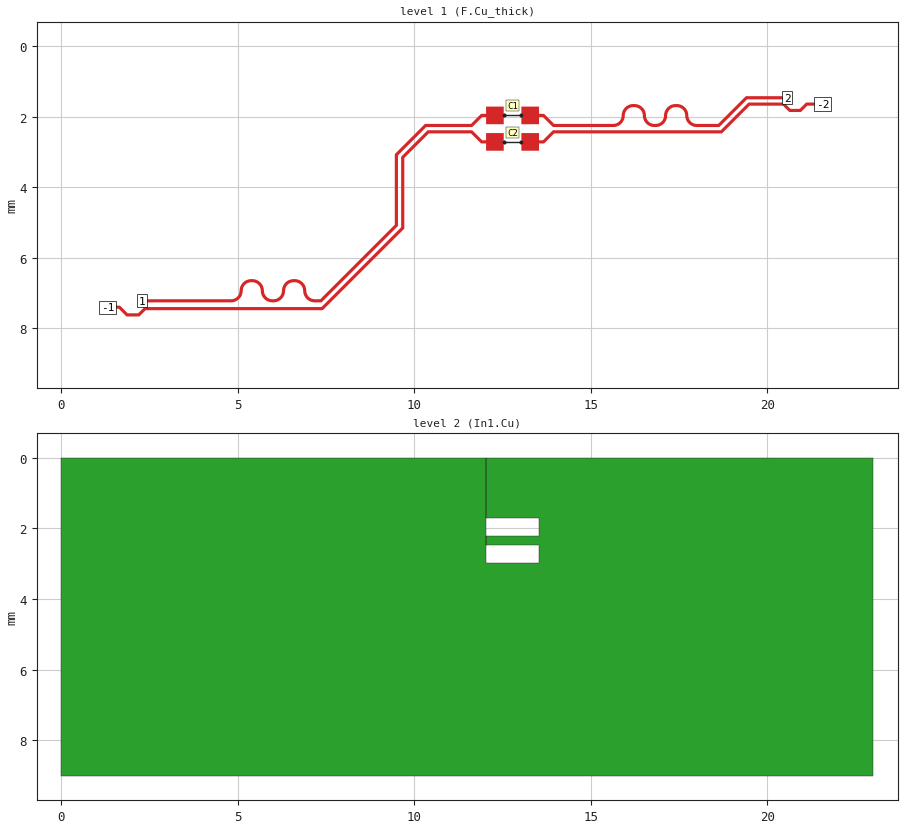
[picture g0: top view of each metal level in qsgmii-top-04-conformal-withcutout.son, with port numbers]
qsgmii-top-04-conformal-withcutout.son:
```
FTYP SONPROJ 19 ! Sonnet Project File
VER 18.56
HEADER
LIC antikernel2.1.52448
DAT 06/09/2023 12:15:08
BUILT_BY_CREATED dxf 18.56 06/07/2023 00:06:12
BUILT_BY_SAVED sonnet 18.56
MDATE 06/09/2023 12:15:08
HDATE 06/09/2023 12:15:08
ANN Created by dxfgeo, Sonnet Software Inc.
END HEADER
DIM
ANG DEG
CAP PF
CON /OH
FREQ GHZ
IND NH
LNG MM
RES OH
END DIM
CONTROL
VARSWP
OPTIONS  -dj
SPEED 1
CACHE_ABS 2
Q_ACC N
END CONTROL
GEO
TMET "Free Space" 0 FREESPACE 376.7303136 0 0 0
BMET "Free Space" 0 FREESPACE 376.7303136 0 0 0
MET "Copper_1oz_thin" 1 NOR 58000000 0.5 0.035 
MET "Copper_1oz_thick" 2 TMM 58000000 0.5 0.035 2
MET "Copper_0.5oz_thin" 4 NOR 58000000 0.5 0.017 
MET "Copper_0.5oz_thick" 12 TMM 58000000 0.5 0.017 2
MET "Copper_0.5oz_thick_down" 5 TMM 58000000 0.5 0.017 2 CDVY TDWN
MET "Copper_1oz_thick_down" 3 TMM 58000000 0.5 0.035 2 CDVY TDWN
BOX 10 23 9 3680 1440 20 0
      5 1 1 0 0 0 0 "Air"
      0.04 3.5 1 0.025 0 0 0 "Soldermask"
      0.075 3.9 1 0.008 0 0 0 "TU-872_SLK"
      0.1 3.9 1 0.008 0 0 0 "TU-872_SLK"
      0.143 3.9 1 0.008 0 0 0 "TU-872_SLK"
      0.7 4.49 1 0.016 0 0 0 "Shengyi_S1000-2M"
      0.143 3.9 1 0.008 0 0 0 "TU-872_SLK"
      0.1 3.9 1 0.008 0 0 0 "TU-872_SLK"
      0.075 3.9 1 0.008 0 0 0 "TU-872_SLK"
      0.04 3.5 1 0.025 0 0 0 "Soldermask"
      5 1 1 0 0 0 0 "Air"
TECHLAY VIA Via1 L9D0 -13 -65534 CAD Via1 drawing 
VIA POLYGON
1 0 -1 N 2978 1 1 100 100 0 0 0 Y
TOLEVEL 8 RING NOCOVERS
END
END
TECHLAY METAL F.Cu_thick L1D0 -2 -65534 CAD F.Cu_thick drawing 
1 0 1 V 2910 1 1 100 100 0 0 0 Y
END
END
TECHLAY METAL F.Cu_thin <UNSPECIFIED> -1 -65534 CAD F.Cu_thin drawing 
1 0 0 N 2920 1 1 100 100 0 0 0 Y
END
END
TECHLAY METAL In1.Cu L2D0 -3 -65534 CAD In1.Cu drawing 
2 0 0 N 2927 1 1 100 100 0 0 0 Y
END
END
TECHLAY METAL In2.Cu_thick L3D0 -5 -65534 CAD In2.Cu_thick drawing 
3 0 3 N 2930 1 1 100 100 0 0 0 Y
END
END
TECHLAY METAL In2.Cu_thin <UNSPECIFIED> -4 -65534 CAD In2.Cu drawing 
3 0 2 N 2932 1 1 100 100 0 0 0 Y
END
END
TECHLAY METAL In3.Cu L4D0 -6 -65534 CAD In3.Cu drawing 
4 0 0 N 2935 1 1 100 100 0 0 0 Y
END
END
TECHLAY METAL In4.Cu L5D0 -7 -65534 CAD In4.Cu drawing 
5 0 0 N 2938 1 1 100 100 0 0 0 Y
END
END
TECHLAY METAL In5.Cu_thick L6D0 -9 -65534 CAD In5.Cu_thick drawing 
6 0 4 N 2941 1 1 100 100 0 0 0 Y
END
END
TECHLAY METAL In5.Cu_thin <UNSPECIFIED> -8 -65534 CAD In5.Cu drawing 
6 0 2 N 2943 1 1 100 100 0 0 0 Y
END
END
TECHLAY METAL In6.Cu L7D0 -10 -65534 CAD In6.Cu drawing 
7 0 0 N 2946 1 1 100 100 0 0 0 Y
END
END
TECHLAY METAL B.Cu_thick L8D0 -12 -65534 CAD B.Cu_thick drawing 
8 0 5 N 2949 1 1 100 100 0 0 0 Y
END
END
TECHLAY METAL B.Cu_thin <UNSPECIFIED> -11 -65534 CAD B.Cu_thin drawing 
8 0 0 N 2951 1 1 100 100 0 0 0 Y
END
END
VALVAR CORE_ER NONE "table1(\"../../../sata-sniffer/sims/core_er.csv\",FREQ)" "Variable set in material file"
VALVAR CORE_DF NONE "table1(\"../../../sata-sniffer/sims/core_df.csv\",FREQ)" "Variable set in material file"
VALVAR PREPREG_DF NONE "table1(\"../../../sata-sniffer/sims/prepreg_df.csv\",FREQ)" "Variable set in material file"
VALVAR PREPREG_ER NONE "table1(\"../../../sata-sniffer/sims/prepreg_er.csv\",FREQ)" "Variable set in material file"
LORGN 0 9 U 
POR1 CUP Auto
GNDREF AUTO
TERMW FEED
POLY 2863 1
72
-1 100 0 0 0 1.31 7.39691406 
CUPGRP "Auto" LOCAL
ID 2979
END
POR1 CUP Auto
GNDREF AUTO
TERMW FEED
POLY 2865 1
248
1 100 0 0 0 2.3 7.21691406 
CUPGRP "Auto" LOCAL
ID 2980
END
POR1 CUP Auto
GNDREF AUTO
TERMW FEED
POLY 2867 1
29
-2 100 0 0 0 21.56 1.646914063 
CUPGRP "Auto" LOCAL
ID 2981
END
POR1 CUP Auto
GNDREF AUTO
TERMW FEED
POLY 2870 1
6
2 100 0 0 0 20.56 1.466914062 
CUPGRP "Auto" LOCAL
ID 2982
END
SMD 1 "C1"
ID 2871
GNDREF AUTO
SBOX 12.6585625 12.9085625 1.929414063 2.004414063
PBSHW N
LPOS 12.7835625 1.929414063
TYPE IDEAL CAP 100000
SMDP 1 12.5335625 1.966914063 L 3 1 
EXSMDP
GNDREF AUTO
TERMW FEED
END EXSMDP
SMDP 1 13.0335625 1.966914063 R 4 2 
EXSMDP
GNDREF AUTO
TERMW FEED
END EXSMDP
END
SMD 1 "C2"
ID 2876
GNDREF AUTO
SBOX 12.6585625 12.9085625 2.679414063 2.754414063
PBSHW N
LPOS 12.7835625 2.679414063
TYPE IDEAL CAP 100000
SMDP 1 12.5335625 2.716914063 L 5 1 
EXSMDP
GNDREF AUTO
TERMW FEED
END EXSMDP
SMDP 1 13.0335625 2.716914063 R 6 2 
EXSMDP
GNDREF AUTO
TERMW FEED
END EXSMDP
END
NUM 5
1 83 1 V 2863 1 1 100 100 0 0 0 Y
TLAYNAM F.Cu_thick INH
2.2095625 7.65991406
2.2145625 7.65791406
2.2185625 7.65691406
2.2225625 7.65491406
2.2255625 7.65191406
2.2295625 7.64891406
2.2355625 7.64291406
2.2365625 7.64091406
2.3955625 7.48291406
7.3975625 7.48291406
7.4015625 7.48191406
7.4055625 7.47991406
7.4095625 7.47891406
7.4135625 7.47691406
7.4175625 7.47391406
7.4205625 7.47091406
9.7075625 5.184914063
9.7105625 5.180914062
9.7125625 5.177914062
9.7165625 5.169914063
9.7175625 5.164914063
9.7185625 5.160914063
9.7185625 3.171914062
10.4145625 2.476914063
11.6055625 2.476914063
11.8815625 2.752914063
11.8855625 2.755914063
11.8895625 2.757914062
11.8935625 2.758914063
11.8975625 2.760914062
11.9015625 2.761914063
12.0335625 2.761914063
12.0335625 2.966914063
12.5335625 2.966914063
12.5335625 2.466914063
12.0335625 2.466914063
12.0335625 2.671914062
11.9265625 2.671914062
11.6505625 2.395914063
11.6465625 2.392914063
11.6425625 2.390914063
11.6385625 2.389914063
11.6345625 2.387914063
11.6305625 2.386914063
10.3885625 2.386914063
10.3805625 2.388914062
10.3725625 2.392914063
10.3685625 2.395914063
10.3655625 2.397914062
9.6405625 3.123914062
9.6375625 3.126914062
9.6345625 3.130914063
9.6325625 3.134914063
9.6315625 3.138914062
9.6295625 3.142914063
9.6285625 3.146914063
9.6285625 5.135914062
7.3725625 7.39291406
2.3695625 7.39291406
2.3615625 7.39491406
2.3535625 7.39891406
2.3495625 7.40191406
2.3465625 7.40391406
2.3405625 7.41091406
2.1805625 7.57091406
1.8865625 7.57091406
1.6765625 7.36091406
1.6725625 7.35791406
1.6685625 7.35591406
1.6645625 7.35491406
1.6605625 7.35291406
1.6565625 7.35191406
1.31 7.35191406
1.31 7.44191406
1.6315625 7.44191406
1.8415625 7.65191406
1.8455625 7.65491406
1.8495625 7.65691406
1.8535625 7.65791406
1.8575625 7.65991406
1.8615625 7.66091406
2.2055625 7.66091406
2.2095625 7.65991406
END
1 451 1 V 2865 1 1 100 100 0 0 0 Y
TLAYNAM F.Cu_thick INH
7.3715625 7.25991406
7.3795625 7.25591406
7.3835625 7.25291406
7.3865625 7.25091406
7.3925625 7.24391406
9.5295625 5.106914063
9.5325625 5.102914062
9.5345625 5.098914063
9.5355625 5.094914063
9.5375625 5.090914062
9.5385625 5.086914063
9.5385625 3.098914063
10.3395625 2.296914062
11.6305625 2.296914062
11.6345625 2.295914063
11.6385625 2.293914062
11.6425625 2.292914063
11.6465625 2.290914062
11.6505625 2.287914062
11.9265625 2.011914063
12.0335625 2.011914063
12.0335625 2.216914063
12.5335625 2.216914063
12.5335625 1.716914063
12.0335625 1.716914063
12.0335625 1.921914062
11.9015625 1.921914062
11.8975625 1.922914063
11.8935625 1.924914062
11.8895625 1.925914063
11.8855625 1.927914062
11.8815625 1.930914062
11.6055625 2.206914062
10.3145625 2.206914062
10.3105625 2.207914063
10.3065625 2.209914062
10.3015625 2.210914063
10.2985625 2.212914062
10.2905625 2.218914062
10.2875625 2.221914062
10.2855625 2.224914062
9.4665625 3.043914062
9.4605625 3.048914063
9.4545625 3.056914063
9.4525625 3.060914063
9.4515625 3.064914062
9.4495625 3.068914063
9.4485625 3.072914063
9.4485625 5.061914062
7.3375625 7.17191406
7.1775625 7.17191406
7.1425625 7.16891406
7.1015625 7.15791406
7.0645625 7.13991406
7.0275625 7.11391406
7.0245625 7.11191406
7.0035625 7.09091406
7.0035625 7.08991406
6.9755625 7.04991406
6.9575625 7.01191406
6.9465625 6.97191406
6.9435625 6.92591406
6.9425625 6.92191406
6.9415625 6.91691406
6.9375625 6.86891406
6.9365625 6.86491406
6.9335625 6.85691406
6.9215625 6.81691406
6.9215625 6.81591406
6.9205625 6.81091406
6.9195625 6.80691406
6.9155625 6.79891406
6.9155625 6.79791406
6.8895625 6.74991406
6.8865625 6.74591406
6.8545625 6.70891406
6.8535625 6.70591406
6.8505625 6.70291406
6.8485625 6.69891406
6.8445625 6.69591406
6.8415625 6.69391406
6.8375625 6.69091406
6.8055625 6.66391406
6.8025625 6.66091406
6.7945625 6.65491406
6.7905625 6.65291406
6.7875625 6.65191406
6.7865625 6.65191406
6.7825625 6.64991406
6.7415625 6.62691406
6.7375625 6.62591406
6.7335625 6.62391406
6.7295625 6.62291406
6.7275625 6.62291406
6.6845625 6.60991406
6.6835625 6.60891406
6.6755625 6.60691406
6.6745625 6.60691406
6.6235625 6.60191406
6.6225625 6.60191406
6.6195625 6.60091406
6.5765625 6.60091406
6.5725625 6.60191406
6.5705625 6.60291406
6.5215625 6.60691406
6.5205625 6.60691406
6.5165625 6.60791406
6.5125625 6.60991406
6.5085625 6.61091406
6.4695625 6.62291406
6.4675625 6.62291406
6.4625625 6.62391406
6.4585625 6.62491406
6.4545625 6.62691406
6.4015625 6.65491406
6.3975625 6.65791406
6.3585625 6.69091406
6.3545625 6.69491406
6.3515625 6.69591406
6.3485625 6.69991406
6.3455625 6.70291406
6.3425625 6.70691406
6.3425625 6.70791406
6.3195625 6.73591406
6.3175625 6.73691406
6.3125625 6.74191406
6.3095625 6.74591406
6.3075625 6.74991406
6.2785625 6.80291406
6.2775625 6.80691406
6.2755625 6.81091406
6.2745625 6.81491406
6.2745625 6.81691406
6.2595625 6.86491406
6.2585625 6.86891406
6.2585625 6.88291406
6.2545625 6.91991406
6.2535625 6.92491406
6.2535625 6.92991406
6.2475625 6.97991406
6.2335625 7.02791406
6.2325625 7.02991406
6.2135625 7.06391406
6.1825625 7.10091406
6.1485625 7.12991406
6.1005625 7.15491406
6.0995625 7.15591406
6.0625625 7.16691406
6.0055625 7.17191406
5.9765625 7.17191406
5.9425625 7.16891406
5.9015625 7.15791406
5.8645625 7.13991406
5.8275625 7.11391406
5.8245625 7.11191406
5.8035625 7.09091406
5.8035625 7.08991406
5.7755625 7.04991406
5.7575625 7.01191406
5.7465625 6.97191406
5.7435625 6.92591406
5.7425625 6.92191406
5.7415625 6.91691406
5.7375625 6.86891406
5.7365625 6.86491406
5.7335625 6.85691406
5.7215625 6.81691406
5.7215625 6.81591406
5.7205625 6.81091406
5.7195625 6.80691406
5.7155625 6.79891406
5.7155625 6.79791406
5.6895625 6.74991406
5.6865625 6.74591406
5.6545625 6.70891406
5.6535625 6.70591406
5.6505625 6.70291406
5.6485625 6.69891406
5.6445625 6.69591406
5.6415625 6.69391406
5.6375625 6.69091406
5.6055625 6.66391406
5.6025625 6.66091406
5.5945625 6.65491406
5.5905625 6.65291406
5.5875625 6.65191406
5.5865625 6.65191406
5.5825625 6.64991406
5.5415625 6.62691406
5.5375625 6.62591406
5.5335625 6.62391406
5.5295625 6.62291406
5.5275625 6.62291406
5.4845625 6.60991406
5.4835625 6.60891406
5.4755625 6.60691406
5.4745625 6.60691406
5.4235625 6.60191406
5.4225625 6.60191406
5.4195625 6.60091406
5.3765625 6.60091406
5.3725625 6.60191406
5.3705625 6.60291406
5.3215625 6.60691406
5.3205625 6.60691406
5.3165625 6.60791406
5.3125625 6.60991406
5.3085625 6.61091406
5.2695625 6.62291406
5.2675625 6.62291406
5.2625625 6.62391406
5.2585625 6.62491406
5.2545625 6.62691406
5.2015625 6.65491406
5.1975625 6.65791406
5.1585625 6.69091406
5.1545625 6.69491406
5.1515625 6.69591406
5.1485625 6.69991406
5.1455625 6.70291406
5.1425625 6.70691406
5.1425625 6.70791406
5.1195625 6.73591406
5.1175625 6.73691406
5.1125625 6.74191406
5.1095625 6.74591406
5.1075625 6.74991406
5.0785625 6.80291406
5.0775625 6.80691406
5.0755625 6.81091406
5.0745625 6.81491406
5.0745625 6.81691406
5.0595625 6.86491406
5.0585625 6.86891406
5.0585625 6.88291406
5.0545625 6.91991406
5.0535625 6.92491406
5.0535625 6.92991406
5.0475625 6.97991406
5.0335625 7.02791406
5.0325625 7.02991406
5.0135625 7.06391406
4.9825625 7.10091406
4.9485625 7.12991406
4.9005625 7.15491406
4.8995625 7.15591406
4.8625625 7.16691406
4.8055625 7.17191406
2.3 7.17191406
2.3 7.26191406
4.8195625 7.26191406
4.8225625 7.26091406
4.8235625 7.26091406
4.8615625 7.25691406
4.8755625 7.25691406
4.8795625 7.25591406
4.9375625 7.23791406
4.9475625 7.23291406
4.9485625 7.23191406
4.9825625 7.21291406
4.9865625 7.21091406
4.9875625 7.21091406
4.9905625 7.20991406
4.9945625 7.20791406
5.0025625 7.20191406
5.0055625 7.19891406
5.0375625 7.17191406
5.0415625 7.16891406
5.0445625 7.16691406
5.0485625 7.16391406
5.0505625 7.15991406
5.0535625 7.15691406
5.0545625 7.15391406
5.0865625 7.11691406
5.0895625 7.11291406
5.1155625 7.06491406
5.1155625 7.06391406
5.1195625 7.05591406
5.1205625 7.05191406
5.1215625 7.04691406
5.1215625 7.04591406
5.1335625 7.00591406
5.1365625 6.99791406
5.1375625 6.99391406
5.1415625 6.94491406
5.1425625 6.94291406
5.1435625 6.93891406
5.1485625 6.88191406
5.1615625 6.83891406
5.1825625 6.79891406
5.2165625 6.75891406
5.2185625 6.75691406
5.2505625 6.73091406
5.2855625 6.71191406
5.3355625 6.69591406
5.3895625 6.69091406
5.4055625 6.69091406
5.4575625 6.69491406
5.5055625 6.70991406
5.5485625 6.73291406
5.5825625 6.76191406
5.6135625 6.79891406
5.6325625 6.83291406
5.6335625 6.83491406
5.6475625 6.88291406
5.6535625 6.93391406
5.6535625 6.93791406
5.6545625 6.94091406
5.6545625 6.94291406
5.6575625 6.97691406
5.6575625 6.98591406
5.6585625 6.99091406
5.6725625 7.04291406
5.6725625 7.04391406
5.6735625 7.04591406
5.6745625 7.04691406
5.6755625 7.04891406
5.6755625 7.05091406
5.6765625 7.05191406
5.6945625 7.08991406
5.6965625 7.09491406
5.6985625 7.09891406
5.7015625 7.10191406
5.7045625 7.10591406
5.7235625 7.13291406
5.7235625 7.13391406
5.7255625 7.13791406
5.7285625 7.14191406
5.7315625 7.14491406
5.7695625 7.18391406
5.7725625 7.18591406
5.7765625 7.18891406
5.7775625 7.18991406
5.8055625 7.20791406
5.8085625 7.21091406
5.8125625 7.21391406
5.8155625 7.21691406
5.8195625 7.21891406
5.8685625 7.24191406
5.8705625 7.24291406
5.8725625 7.24291406
5.8775625 7.24391406
5.9165625 7.25491406
5.9185625 7.25591406
5.9235625 7.25691406
5.9275625 7.25791406
5.9285625 7.25791406
5.9725625 7.26091406
5.9745625 7.26091406
5.9765625 7.26191406
6.0195625 7.26191406
6.0225625 7.26091406
6.0235625 7.26091406
6.0615625 7.25691406
6.0755625 7.25691406
6.0795625 7.25591406
6.1375625 7.23791406
6.1475625 7.23291406
6.1485625 7.23191406
6.1825625 7.21291406
6.1865625 7.21091406
6.1875625 7.21091406
6.1905625 7.20991406
6.1945625 7.20791406
6.2025625 7.20191406
6.2055625 7.19891406
6.2375625 7.17191406
6.2415625 7.16891406
6.2445625 7.16691406
6.2485625 7.16391406
6.2505625 7.15991406
6.2535625 7.15691406
6.2545625 7.15391406
6.2865625 7.11691406
6.2895625 7.11291406
6.3155625 7.06491406
6.3155625 7.06391406
6.3195625 7.05591406
6.3205625 7.05191406
6.3215625 7.04691406
6.3215625 7.04591406
6.3335625 7.00591406
6.3365625 6.99791406
6.3375625 6.99391406
6.3415625 6.94491406
6.3425625 6.94291406
6.3435625 6.93891406
6.3485625 6.88191406
6.3615625 6.83891406
6.3825625 6.79891406
6.4165625 6.75891406
6.4185625 6.75691406
6.4505625 6.73091406
6.4855625 6.71191406
6.5355625 6.69591406
6.5895625 6.69091406
6.6055625 6.69091406
6.6575625 6.69491406
6.7055625 6.70991406
6.7485625 6.73291406
6.7825625 6.76191406
6.8135625 6.79891406
6.8325625 6.83291406
6.8335625 6.83491406
6.8475625 6.88291406
6.8535625 6.93391406
6.8535625 6.93791406
6.8545625 6.94091406
6.8545625 6.94291406
6.8575625 6.97691406
6.8575625 6.98591406
6.8585625 6.99091406
6.8725625 7.04291406
6.8725625 7.04391406
6.8735625 7.04591406
6.8745625 7.04691406
6.8755625 7.04891406
6.8755625 7.05091406
6.8765625 7.05191406
6.8945625 7.08991406
6.8965625 7.09491406
6.8985625 7.09891406
6.9015625 7.10191406
6.9045625 7.10591406
6.9235625 7.13291406
6.9235625 7.13391406
6.9255625 7.13791406
6.9285625 7.14191406
6.9315625 7.14491406
6.9695625 7.18391406
6.9725625 7.18591406
6.9765625 7.18891406
6.9775625 7.18991406
7.0055625 7.20791406
7.0085625 7.21091406
7.0125625 7.21391406
7.0155625 7.21691406
7.0195625 7.21891406
7.0685625 7.24191406
7.0705625 7.24291406
7.0725625 7.24291406
7.0775625 7.24391406
7.1165625 7.25491406
7.1185625 7.25591406
7.1235625 7.25691406
7.1275625 7.25791406
7.1285625 7.25791406
7.1725625 7.26091406
7.1755625 7.26191406
7.3635625 7.26191406
7.3715625 7.25991406
END
1 71 1 V 2867 1 1 100 100 0 0 0 Y
TLAYNAM F.Cu_thick INH
13.5335625 2.761914063
13.6655625 2.761914063
13.6695625 2.760914062
13.6735625 2.758914063
13.6775625 2.757914062
13.6815625 2.755914063
13.6855625 2.752914063
13.9615625 2.476914063
18.7025625 2.476914063
18.7065625 2.475914063
18.7105625 2.473914063
18.7145625 2.472914063
18.7185625 2.470914063
18.7225625 2.467914063
19.4985625 1.691914063
20.4375625 1.691914063
20.6075625 1.861914062
20.6115625 1.864914062
20.6155625 1.866914063
20.6195625 1.867914062
20.6235625 1.869914063
20.6275625 1.870914062
20.9395625 1.870914062
20.9435625 1.869914063
20.9475625 1.867914062
20.9515625 1.866914063
20.9555625 1.864914062
20.9595625 1.861914062
21.1295625 1.691914063
21.56 1.691914063
21.56 1.601914063
21.1045625 1.601914063
21.1005625 1.602914062
21.0965625 1.604914063
21.0915625 1.605914062
21.0885625 1.607914063
21.0805625 1.613914063
21.0775625 1.616914063
21.0755625 1.619914063
20.9145625 1.780914063
20.6525625 1.780914063
20.4945625 1.623914062
20.4915625 1.619914063
20.4825625 1.610914063
20.4785625 1.607914063
20.4745625 1.605914062
20.4705625 1.604914063
20.4665625 1.602914062
20.4625625 1.601914063
19.4735625 1.601914063
19.4695625 1.602914062
19.4655625 1.604914063
19.4615625 1.605914062
19.4575625 1.607914063
19.4535625 1.610914063
18.6775625 2.386914063
13.9365625 2.386914063
13.9325625 2.387914063
13.9285625 2.389914063
13.9235625 2.390914063
13.9205625 2.392914063
13.9125625 2.398914063
13.9095625 2.401914063
13.9075625 2.404914063
13.6405625 2.671914062
13.5335625 2.671914062
13.5335625 2.466914063
13.0335625 2.466914063
13.0335625 2.966914063
13.5335625 2.966914063
13.5335625 2.761914063
END
1 447 1 V 2870 1 1 100 100 0 0 0 Y
TLAYNAM F.Cu_thick INH
18.6325625 2.295914063
18.6365625 2.293914062
18.6405625 2.292914063
18.6445625 2.290914062
18.6485625 2.287914062
19.4245625 1.511914063
20.56 1.511914063
20.56 1.421914062
19.3995625 1.421914062
19.3955625 1.422914063
19.3915625 1.424914062
19.3865625 1.425914063
19.3835625 1.427914062
19.3755625 1.433914063
19.3725625 1.436914063
19.3705625 1.439914063
18.6035625 2.206914062
17.9925625 2.206914062
17.9585625 2.203914063
17.9185625 2.192914062
17.8775625 2.172914063
17.8745625 2.171914062
17.8505625 2.154914063
17.8185625 2.122914063
17.7905625 2.082914063
17.7785625 2.056914063
17.7645625 2.004914062
17.7615625 1.967914063
17.7615625 1.961914063
17.7605625 1.959914062
17.7575625 1.920914063
17.7575625 1.914914063
17.7565625 1.910914063
17.7555625 1.905914063
17.7545625 1.902914063
17.7455625 1.870914062
17.7455625 1.869914063
17.7435625 1.861914062
17.7415625 1.856914063
17.7195625 1.808914062
17.7175625 1.804914063
17.7135625 1.800914063
17.7115625 1.797914063
17.6875625 1.762914063
17.6865625 1.760914062
17.6805625 1.754914062
17.6765625 1.751914062
17.6505625 1.725914063
17.6475625 1.721914062
17.6445625 1.719914063
17.6435625 1.718914062
17.6395625 1.715914062
17.6355625 1.713914063
17.6045625 1.691914063
17.6005625 1.688914063
17.5975625 1.686914062
17.5925625 1.684914063
17.5545625 1.666914063
17.5535625 1.665914062
17.5495625 1.663914063
17.5455625 1.662914062
17.4945625 1.648914063
17.4895625 1.647914062
17.4805625 1.647914062
17.4465625 1.644914062
17.4455625 1.644914062
17.4425625 1.643914063
17.3925625 1.643914063
17.3895625 1.644914062
17.3875625 1.644914062
17.3365625 1.648914063
17.3325625 1.649914063
17.3245625 1.652914063
17.2845625 1.664914063
17.2805625 1.665914062
17.2765625 1.667914063
17.2755625 1.667914063
17.2715625 1.668914062
17.2675625 1.670914063
17.2665625 1.671914062
17.2635625 1.673914063
17.2235625 1.694914063
17.2225625 1.694914063
17.2195625 1.696914063
17.2155625 1.699914063
17.1745625 1.733914062
17.1725625 1.734914063
17.1635625 1.743914063
17.1605625 1.747914063
17.1605625 1.748914062
17.1285625 1.786914063
17.1255625 1.790914062
17.1235625 1.794914063
17.1025625 1.834914062
17.1015625 1.835914063
17.0995625 1.838914063
17.0975625 1.842914063
17.0965625 1.846914062
17.0965625 1.847914063
17.0945625 1.851914063
17.0935625 1.855914062
17.0935625 1.856914063
17.0805625 1.898914063
17.0795625 1.899914063
17.0775625 1.907914063
17.0715625 1.967914063
17.0715625 1.976914063
17.0685625 2.010914062
17.0565625 2.053914063
17.0555625 2.056914063
17.0385625 2.090914062
17.0375625 2.093914062
17.0205625 2.117914062
16.9885625 2.149914063
16.9505625 2.176914063
16.9485625 2.177914062
16.9145625 2.192914062
16.8765625 2.202914063
16.8295625 2.206914062
16.7925625 2.206914062
16.7585625 2.203914063
16.7185625 2.192914062
16.6775625 2.172914063
16.6745625 2.171914062
16.6505625 2.154914063
16.6185625 2.122914063
16.5905625 2.082914063
16.5785625 2.056914063
16.5645625 2.004914062
16.5615625 1.967914063
16.5615625 1.961914063
16.5605625 1.959914062
16.5575625 1.920914063
16.5575625 1.914914063
16.5565625 1.910914063
16.5555625 1.905914063
16.5545625 1.902914063
16.5455625 1.870914062
16.5455625 1.869914063
16.5435625 1.861914062
16.5415625 1.856914063
16.5195625 1.808914062
16.5175625 1.804914063
16.5135625 1.800914063
16.5115625 1.797914063
16.4875625 1.762914063
16.4865625 1.760914062
16.4805625 1.754914062
16.4765625 1.751914062
16.4505625 1.725914063
16.4475625 1.721914062
16.4445625 1.719914063
16.4435625 1.718914062
16.4395625 1.715914062
16.4355625 1.713914063
16.4045625 1.691914063
16.4005625 1.688914063
16.3975625 1.686914062
16.3925625 1.684914063
16.3545625 1.666914063
16.3535625 1.665914062
16.3495625 1.663914063
16.3455625 1.662914062
16.2945625 1.648914063
16.2895625 1.647914062
16.2805625 1.647914062
16.2465625 1.644914062
16.2455625 1.644914062
16.2425625 1.643914063
16.1925625 1.643914063
16.1895625 1.644914062
16.1875625 1.644914062
16.1365625 1.648914063
16.1325625 1.649914063
16.1245625 1.652914063
16.0845625 1.664914063
16.0805625 1.665914062
16.0765625 1.667914063
16.0755625 1.667914063
16.0715625 1.668914062
16.0675625 1.670914063
16.0665625 1.671914062
16.0635625 1.673914063
16.0235625 1.694914063
16.0225625 1.694914063
16.0195625 1.696914063
16.0155625 1.699914063
15.9745625 1.733914062
15.9725625 1.734914063
15.9635625 1.743914063
15.9605625 1.747914063
15.9605625 1.748914062
15.9285625 1.786914063
15.9255625 1.790914062
15.9235625 1.794914063
15.9025625 1.834914062
15.9015625 1.835914063
15.8995625 1.838914063
15.8975625 1.842914063
15.8965625 1.846914062
15.8965625 1.847914063
15.8945625 1.851914063
15.8935625 1.855914062
15.8935625 1.856914063
15.8805625 1.898914063
15.8795625 1.899914063
15.8775625 1.907914063
15.8715625 1.967914063
15.8715625 1.976914063
15.8685625 2.010914062
15.8565625 2.053914063
15.8555625 2.056914063
15.8385625 2.090914062
15.8375625 2.093914062
15.8205625 2.117914062
15.7885625 2.149914063
15.7505625 2.176914063
15.7485625 2.177914062
15.7145625 2.192914062
15.6765625 2.202914063
15.6295625 2.206914062
13.9615625 2.206914062
13.6975625 1.943914063
13.6945625 1.939914062
13.6855625 1.930914062
13.6815625 1.927914062
13.6775625 1.925914063
13.6735625 1.924914062
13.6695625 1.922914063
13.6655625 1.921914062
13.5335625 1.921914062
13.5335625 1.716914063
13.0335625 1.716914063
13.0335625 2.216914063
13.5335625 2.216914063
13.5335625 2.011914063
13.6405625 2.011914063
13.9165625 2.287914062
13.9205625 2.290914062
13.9245625 2.292914063
13.9285625 2.293914062
13.9325625 2.295914063
13.9365625 2.296914062
15.6425625 2.296914062
15.6455625 2.295914063
15.6465625 2.295914063
15.6805625 2.292914063
15.6895625 2.292914063
15.6945625 2.291914063
15.7455625 2.277914063
15.7495625 2.276914063
15.7535625 2.274914063
15.7545625 2.273914063
15.7925625 2.255914063
15.7975625 2.253914063
15.8005625 2.251914062
15.8045625 2.248914062
15.8355625 2.226914063
15.8395625 2.224914062
15.8435625 2.221914062
15.8445625 2.220914063
15.8475625 2.218914062
15.8505625 2.214914063
15.8775625 2.187914063
15.8815625 2.184914063
15.8875625 2.178914063
15.8875625 2.177914062
15.9115625 2.142914063
15.9145625 2.138914062
15.9175625 2.135914062
15.9195625 2.131914063
15.9415625 2.083914063
15.9435625 2.078914063
15.9455625 2.070914062
15.9455625 2.069914063
15.9545625 2.035914063
15.9555625 2.033914063
15.9565625 2.028914062
15.9575625 2.024914063
15.9575625 2.019914062
15.9605625 1.980914062
15.9605625 1.978914063
15.9615625 1.976914063
15.9615625 1.971914062
15.9655625 1.925914063
15.9795625 1.881914063
16.0055625 1.834914062
16.0055625 1.833914063
16.0315625 1.802914062
16.0655625 1.774914063
16.1105625 1.750914063
16.1505625 1.737914063
16.1925625 1.733914062
16.2295625 1.733914062
16.2765625 1.737914063
16.3145625 1.747914063
16.3485625 1.762914063
16.3505625 1.763914062
16.3885625 1.790914062
16.4175625 1.818914063
16.4395625 1.850914063
16.4555625 1.883914063
16.4565625 1.886914063
16.4685625 1.929914063
16.4715625 1.966914063
16.4715625 1.971914062
16.4765625 2.024914063
16.4765625 2.028914062
16.4785625 2.033914063
16.4795625 2.037914062
16.4815625 2.041914063
16.4885625 2.068914063
16.4885625 2.070914062
16.4895625 2.075914063
16.4915625 2.083914063
16.5145625 2.132914062
16.5165625 2.135914062
16.5195625 2.139914063
16.5215625 2.141914062
16.5415625 2.169914063
16.5435625 2.173914063
16.5465625 2.177914062
16.5475625 2.178914063
16.5495625 2.181914063
16.5535625 2.184914063
16.5805625 2.211914063
16.5835625 2.215914062
16.5895625 2.221914062
16.5905625 2.221914062
16.6255625 2.245914062
16.6295625 2.248914062
16.6325625 2.251914062
16.6365625 2.253914063
16.6845625 2.275914062
16.6885625 2.277914063
16.6895625 2.277914063
16.6975625 2.279914063
16.7315625 2.289914063
16.7345625 2.290914062
16.7395625 2.291914063
16.7435625 2.292914063
16.7495625 2.292914063
16.7875625 2.295914063
16.7905625 2.296914062
16.8425625 2.296914062
16.8455625 2.295914063
16.8465625 2.295914063
16.8805625 2.292914063
16.8895625 2.292914063
16.8945625 2.291914063
16.9455625 2.277914063
16.9495625 2.276914063
16.9535625 2.274914063
16.9545625 2.273914063
16.9925625 2.255914063
16.9975625 2.253914063
17.0005625 2.251914062
17.0045625 2.248914062
17.0355625 2.226914063
17.0395625 2.224914062
17.0435625 2.221914062
17.0445625 2.220914063
17.0475625 2.218914062
17.0505625 2.214914063
17.0775625 2.187914063
17.0815625 2.184914063
17.0875625 2.178914063
17.0875625 2.177914062
17.1115625 2.142914063
17.1145625 2.138914062
17.1175625 2.135914062
17.1195625 2.131914063
17.1415625 2.083914063
17.1435625 2.078914063
17.1455625 2.070914062
17.1455625 2.069914063
17.1545625 2.035914063
17.1555625 2.033914063
17.1565625 2.028914062
17.1575625 2.024914063
17.1575625 2.019914062
17.1605625 1.980914062
17.1605625 1.978914063
17.1615625 1.976914063
17.1615625 1.971914062
17.1655625 1.925914063
17.1795625 1.881914063
17.2055625 1.834914062
17.2055625 1.833914063
17.2315625 1.802914062
17.2655625 1.774914063
17.3105625 1.750914063
17.3505625 1.737914063
17.3925625 1.733914062
17.4295625 1.733914062
17.4765625 1.737914063
17.5145625 1.747914063
17.5485625 1.762914063
17.5505625 1.763914062
17.5885625 1.790914062
17.6175625 1.818914063
17.6395625 1.850914063
17.6555625 1.883914063
17.6565625 1.886914063
17.6685625 1.929914063
17.6715625 1.966914063
17.6715625 1.971914062
17.6765625 2.024914063
17.6765625 2.028914062
17.6785625 2.033914063
17.6795625 2.037914062
17.6815625 2.041914063
17.6885625 2.068914063
17.6885625 2.070914062
17.6895625 2.075914063
17.6915625 2.083914063
17.7145625 2.132914062
17.7165625 2.135914062
17.7195625 2.139914063
17.7215625 2.141914062
17.7415625 2.169914063
17.7435625 2.173914063
17.7465625 2.177914062
17.7475625 2.178914063
17.7495625 2.181914063
17.7535625 2.184914063
17.7805625 2.211914063
17.7835625 2.215914062
17.7895625 2.221914062
17.7905625 2.221914062
17.8255625 2.245914062
17.8295625 2.248914062
17.8325625 2.251914062
17.8365625 2.253914063
17.8845625 2.275914062
17.8885625 2.277914063
17.8895625 2.277914063
17.8975625 2.279914063
17.9315625 2.289914063
17.9345625 2.290914062
17.9395625 2.291914063
17.9435625 2.292914063
17.9495625 2.292914063
17.9875625 2.295914063
17.9905625 2.296914062
18.6285625 2.296914062
18.6325625 2.295914063
END
2 19 0 N 2892 1 1 100 100 0 0 0 Y
TLAYNAM In1.Cu INH
23 0
12.0335625 0
12.0335625 1.716914063
13.5335625 1.716914063
13.5335625 2.216914063
12.0335625 2.216914063
12.0335625 2.466914063
13.5335625 2.466914063
13.5335625 2.966914063
12.0335625 2.966914063
12.0335625 2.466914063
12.0335625 2.216914063
12.0335625 2.216914063
12.0335625 1.716914063
12.0335625 0
0 0
0 9
23 9
23 0
END
END GEO
OPT
MAX 100
END OPT
VARSWP
ENABLED Y
FREQ Y AY ABS_ENTRY 0.01 16.0 -1 300 
END
END VARSWP
3DOPTIONS
GLOBAL 1
ALL 11 1
END 3DOPTIONS
```
